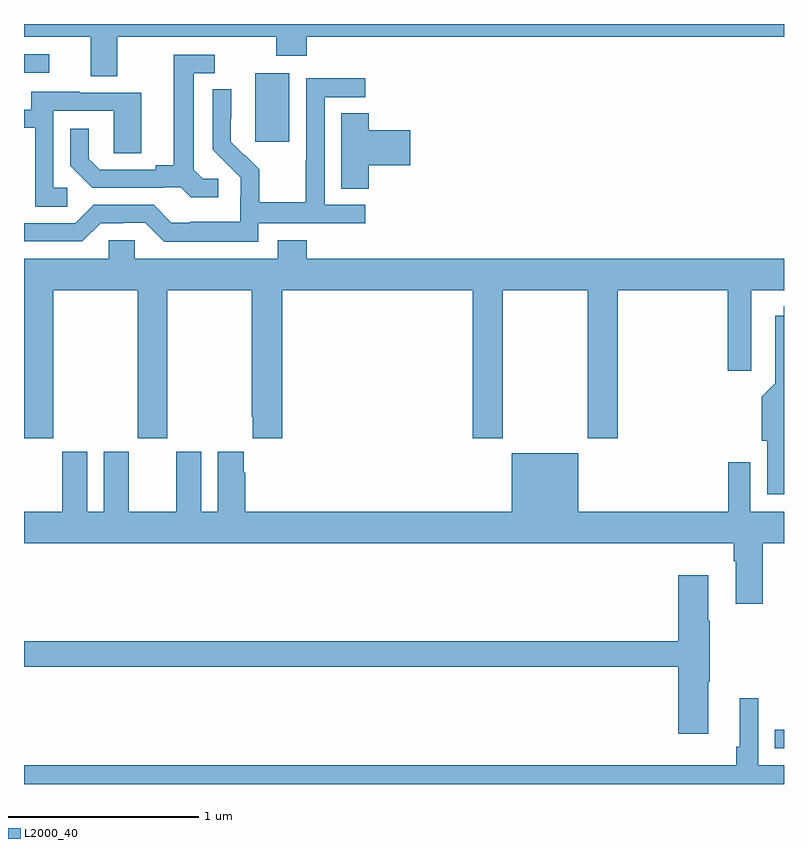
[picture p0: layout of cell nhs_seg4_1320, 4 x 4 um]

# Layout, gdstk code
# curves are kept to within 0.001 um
import gdstk
lib = gdstk.Library(unit=1e-6, precision=1e-09)
def R(c, l, rs):  # rectangles x0, y0, x1, y1
    for r in rs: c.add(gdstk.rectangle(r[:2], r[2:], *l))
def P(c, l, *ps):  # polygons
    for p in ps: c.add(gdstk.Polygon(p, *l))
L2000_40 = (2000, 40)

nhs_seg4_1320 = lib.new_cell('nhs_seg4_1320')
R(nhs_seg4_1320, L2000_40, [(182.95,781.089,183,781.185), (180.218,784.281,180.397,784.642), (179,784.644,179.134,784.74)])
P(nhs_seg4_1320, L2000_40, [(179.491,784.832),(180.328,784.832),(180.328,784.733),(180.488,784.733),(180.488,784.832),(183,784.832),(183,784.9),(179,784.9),(179,784.832),(179.351,784.832),(179.351,784.624),(179.491,784.624)],
  [(180.022,784.086),(179.94,784.086),(179.893,784.133),(179.893,784.641),(180.004,784.641),(180.004,784.737),(179.789,784.737),(179.789,784.157),(179.693,784.157),(179.693,784.134),(179.398,784.134),(179.341,784.191),(179.341,784.348),(179.244,784.348),(179.244,784.154),(179.36,784.038),(179.732,784.038),(179.732,784.041),(179.826,784.041),(179.878,783.989),(180.022,783.989)],
  [(180.234,783.852),(180.796,783.852),(180.796,783.948),(180.582,783.948),(180.582,784.515),(180.796,784.515),(180.796,784.614),(180.486,784.614),(180.486,784.184),(180.484,784.184),(180.484,783.961),(180.239,783.961),(180.239,784.135),(180.162,784.212),(180.159,784.209),(180.089,784.28),(180.09,784.556),(179.994,784.556),(179.994,784.238),(180.14,784.09),(180.14,783.993),(180.138,783.993),(180.138,783.859),(179.875,783.859),(179.875,783.855),(179.775,783.855),(179.682,783.948),(179.367,783.948),(179.271,783.852),(179,783.852),(179,783.756),(179.307,783.756),(179.403,783.852),(179.522,783.852),(179.522,783.855),(179.637,783.855),(179.737,783.755),(180.234,783.755)],
  [(179.227,784.038),(179.154,784.038),(179.154,784.443),(179.472,784.443),(179.472,784.219),(179.617,784.219),(179.617,784.539),(179.293,784.539),(179.293,784.543),(179.039,784.543),(179.039,784.449),(179,784.449),(179,784.353),(179.058,784.353),(179.058,783.937),(179.227,783.937)],
  [(180.815,784.157),(181.033,784.157),(181.033,784.34),(180.815,784.34),(180.815,784.43),(180.671,784.43),(180.671,784.033),(180.815,784.033)],
  [(179.154,783.5),(179.599,783.5),(179.599,782.721),(179.754,782.721),(179.754,783.5),(180.199,783.5),(180.199,782.833),(180.203,782.833),(180.203,782.721),(180.359,782.721),(180.359,783.5),(181.361,783.5),(181.361,782.721),(181.521,782.721),(181.521,783.5),(181.966,783.5),(181.966,782.721),(182.126,782.721),(182.126,783.5),(182.705,783.5),(182.705,783.075),(182.827,783.075),(182.827,783.5),(183,783.5),(183,783.664),(180.488,783.664),(180.488,783.763),(180.335,783.763),(180.335,783.664),(179.583,783.664),(179.583,783.762),(179.445,783.762),(179.445,783.664),(179,783.664),(179,782.721),(179.154,782.721)],
  [(183,783.415),(182.999,783.415),(182.999,783.364),(182.954,783.364),(182.954,783.01),(182.882,782.938),(182.882,782.706),(182.912,782.706),(182.912,782.426),(183,782.426)],
  [(182.887,782.168),(183,782.168),(183,782.332),(182.823,782.332),(182.823,782.593),(182.707,782.593),(182.707,782.332),(181.918,782.332),(181.918,782.641),(181.568,782.641),(181.568,782.332),(180.164,782.332),(180.164,782.537),(180.157,782.537),(180.157,782.65),(180.02,782.65),(180.02,782.332),(179.932,782.332),(179.932,782.65),(179.801,782.65),(179.801,782.332),(179.551,782.332),(179.551,782.65),(179.42,782.65),(179.42,782.332),(179.332,782.332),(179.332,782.65),(179.201,782.65),(179.201,782.332),(179,782.332),(179,782.168),(182.735,782.168),(182.735,782.072),(182.747,782.072),(182.747,781.848),(182.887,781.848)],
  [(182.602,781.439),(182.61,781.439),(182.61,781.76),(182.602,781.76),(182.602,781.999),(182.444,781.999),(182.444,781.652),(179,781.652),(179,781.516),(182.444,781.516),(182.444,781.164),(182.602,781.164)],
  [(183,781),(182.865,781),(182.865,781.351),(182.768,781.351),(182.768,781.096),(182.749,781.096),(182.749,781),(179,781),(179,780.9),(183,780.9)])

lib.write_gds('nhs_seg4_1320.gds')
